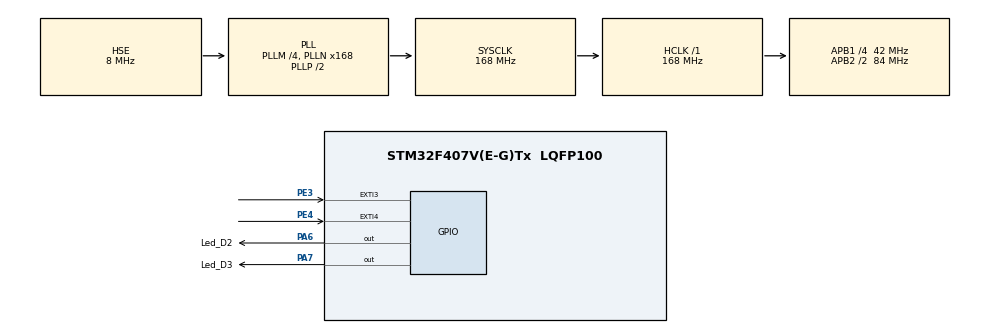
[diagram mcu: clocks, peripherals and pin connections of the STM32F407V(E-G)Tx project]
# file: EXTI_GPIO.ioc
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Mcu.Family=STM32F4
Mcu.Name=STM32F407V(E-G)Tx
Mcu.Package=LQFP100
NVIC.EXTI3_IRQn=true\:0\:0\:false\:false\:true\:true\:true\:true
NVIC.EXTI4_IRQn=true\:1\:0\:true\:false\:true\:true\:true\:true
NVIC.PriorityGroup=NVIC_PRIORITYGROUP_4
PA13.Mode=Serial_Wire
PA13.Signal=SYS_JTMS-SWDIO
PA14.Mode=Serial_Wire
PA14.Signal=SYS_JTCK-SWCLK
PA6.GPIO_Label=Led_D2
PA6.PinState=GPIO_PIN_SET
PA6.Signal=GPIO_Output
PA7.GPIO_Label=Led_D3
PA7.PinState=GPIO_PIN_SET
PA7.Signal=GPIO_Output
PE3.GPIO_ModeDefaultEXTI=GPIO_MODE_IT_FALLING
PE3.GPIO_PuPd=GPIO_PULLUP
PE3.Signal=GPXTI3
PE4.GPIO_ModeDefaultEXTI=GPIO_MODE_IT_FALLING
PE4.GPIO_PuPd=GPIO_PULLUP
PE4.Signal=GPXTI4
PH0-OSC_IN.Mode=HSE-External-Oscillator
PH0-OSC_IN.Signal=RCC_OSC_IN
PH1-OSC_OUT.Mode=HSE-External-Oscillator
PH1-OSC_OUT.Signal=RCC_OSC_OUT
ProjectManager.HeapSize=0x200
ProjectManager.StackSize=0x400
ProjectManager.TargetToolchain=MDK-ARM V5
RCC.48MHZClocksFreq_Value=84000000
RCC.AHBFreq_Value=168000000
RCC.APB1CLKDivider=RCC_HCLK_DIV4
RCC.APB1Freq_Value=42000000
RCC.APB1TimFreq_Value=84000000
RCC.APB2CLKDivider=RCC_HCLK_DIV2
RCC.APB2Freq_Value=84000000
RCC.APB2TimFreq_Value=168000000
RCC.CortexFreq_Value=168000000
RCC.HCLKFreq_Value=168000000
RCC.HSE_VALUE=8000000
RCC.HSI_VALUE=16000000
RCC.PLLM=4
RCC.PLLN=168
RCC.PLLSourceVirtual=RCC_PLLSOURCE_HSE
RCC.SYSCLKFreq_VALUE=168000000
RCC.SYSCLKSource=RCC_SYSCLKSOURCE_PLLCLK
RCC.VCOOutputFreq_Value=336000000
board=custom

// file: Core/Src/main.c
/* USER CODE BEGIN Header */
/**
  ******************************************************************************
  * @file           : main.c
  * @brief          : Main program body
  ******************************************************************************
  * @attention
  *
  * Copyright (c) 2023 STMicroelectronics.
  * All rights reserved.
  *
  * This software is licensed under terms that can be found in the LICENSE file
  * in the root directory of this software component.
  * If no LICENSE file comes with this software, it is provided AS-IS.
  *
  ******************************************************************************
  */
/* USER CODE END Header */
#include "main.h"
#include "gpio.h"

/* USER CODE BEGIN Includes */
#include <stdio.h>
/* USER CODE END Includes */

void SystemClock_Config(void);

/* USER CODE BEGIN 0 */
int status = 0;
void HAL_GPIO_EXTI_Callback(uint16_t GPIO_Pin) // ham ngat
{
  /* Prevent unused argument(s) compilation warning */
  UNUSED(GPIO_Pin);
	if (GPIO_Pin == GPIO_PIN_4)
	{
		status = 1;
		HAL_GPIO_TogglePin(Led_D3_GPIO_Port,Led_D2_Pin);
		for (int i=0;i<100000;i++);
		printf(" GPIO_PIN_4 \n");
	}
	 if (GPIO_Pin == GPIO_PIN_3)
	{
//		status = 2;
		HAL_GPIO_TogglePin(Led_D3_GPIO_Port,Led_D3_Pin);
		for (int i=0;i<100000;i++);
		printf(" GPIO_PIN_3 \n");
	}
  /* NOTE: This function Should not be modified, when the callback is needed,
           the HAL_GPIO_EXTI_Callback could be implemented in the user file
   */
}
/* USER CODE END 0 */

int main(void)
{

  /* MCU Configuration--------------------------------------------------------*/

  /* Reset of all peripherals, Initializes the Flash interface and the Systick. */
  HAL_Init();

  /* Configure the system clock */
  SystemClock_Config();

  /* Initialize all configured peripherals */
  MX_GPIO_Init();

  /* Infinite loop */
  while (1)
  {

    /* USER CODE BEGIN 3 */

//		if (status == 2 )
//		{
////			HAL_GPIO_TogglePin(Led_D2_GPIO_Port,Led_D2_Pin);
////			for (int i =0;i<50;i++)
////			{
////				HAL_GPIO_WritePin(Led_D2_GPIO_Port,Led_D2_Pin,1);
////				HAL_Delay(100);
////				HAL_GPIO_WritePin(Led_D2_GPIO_Port,Led_D2_Pin,0);
////				HAL_Delay(100);
////
////			}
//
//				HAL_GPIO_WritePin(Led_D2_GPIO_Port,Led_D2_Pin,1);
//				for (int i=0;i<10000000;i++);
//				HAL_GPIO_WritePin(Led_D2_GPIO_Port,Led_D2_Pin,0);
//				for (int i=0;i<10000000;i++);
//				HAL_GPIO_WritePin(Led_D2_GPIO_Port,Led_D2_Pin,1);
//				for (int i=0;i<10000000;i++);
//				HAL_GPIO_WritePin(Led_D2_GPIO_Port,Led_D2_Pin,0);
//				for (int i=0;i<10000000;i++);
//				HAL_GPIO_WritePin(Led_D2_GPIO_Port,Led_D2_Pin,1);
//				for (int i=0;i<10000000;i++);
//				HAL_GPIO_WritePin(Led_D2_GPIO_Port,Led_D2_Pin,0);
//				for (int i=0;i<10000000;i++);
//			 status =0;
//		}
//		else if (status ==1 )
//		{
//			HAL_GPIO_TogglePin(Led_D3_GPIO_Port,Led_D3_Pin);
//			HAL_Delay(700);
//			status =0;
//		}
//
		HAL_GPIO_WritePin(Led_D2_GPIO_Port,Led_D2_Pin,0);
		HAL_GPIO_WritePin(Led_D3_GPIO_Port,Led_D3_Pin,1);
		for (long i=0;i<1000;i++)
		{
			for (long i=0;i<100;i++) ;
		}
		HAL_GPIO_WritePin(Led_D2_GPIO_Port,Led_D2_Pin,1);
		HAL_GPIO_WritePin(Led_D3_GPIO_Port,Led_D3_Pin,0);
		for (long i=0;i<1000;i++)
		{
			for (long i=0;i<100;i++);
		}
  }

  /* USER CODE END 3 */
}

void SystemClock_Config(void)
{
  RCC_OscInitTypeDef RCC_OscInitStruct = {0};
  RCC_ClkInitTypeDef RCC_ClkInitStruct = {0};

  /** Configure the main internal regulator output voltage
  */
  __HAL_RCC_PWR_CLK_ENABLE();
  __HAL_PWR_VOLTAGESCALING_CONFIG(PWR_REGULATOR_VOLTAGE_SCALE1);

  /** Initializes the RCC Oscillators according to the specified parameters
  * in the RCC_OscInitTypeDef structure.
  */
  RCC_OscInitStruct.OscillatorType = RCC_OSCILLATORTYPE_HSE;
  RCC_OscInitStruct.HSEState = RCC_HSE_ON;
  RCC_OscInitStruct.PLL.PLLState = RCC_PLL_ON;
  RCC_OscInitStruct.PLL.PLLSource = RCC_PLLSOURCE_HSE;
  RCC_OscInitStruct.PLL.PLLM = 4;
  RCC_OscInitStruct.PLL.PLLN = 168;
  RCC_OscInitStruct.PLL.PLLP = RCC_PLLP_DIV2;
  RCC_OscInitStruct.PLL.PLLQ = 4;
  if (HAL_RCC_OscConfig(&RCC_OscInitStruct) != HAL_OK)
  {
    Error_Handler();
  }

  /** Initializes the CPU, AHB and APB buses clocks
  */
  RCC_ClkInitStruct.ClockType = RCC_CLOCKTYPE_HCLK|RCC_CLOCKTYPE_SYSCLK
                              |RCC_CLOCKTYPE_PCLK1|RCC_CLOCKTYPE_PCLK2;
  RCC_ClkInitStruct.SYSCLKSource = RCC_SYSCLKSOURCE_PLLCLK;
  RCC_ClkInitStruct.AHBCLKDivider = RCC_SYSCLK_DIV1;
  RCC_ClkInitStruct.APB1CLKDivider = RCC_HCLK_DIV4;
  RCC_ClkInitStruct.APB2CLKDivider = RCC_HCLK_DIV2;

  if (HAL_RCC_ClockConfig(&RCC_ClkInitStruct, FLASH_LATENCY_5) != HAL_OK)
  {
    Error_Handler();
  }
}

void Error_Handler(void)
{
  __disable_irq();
  while (1)
  {
  }
}
